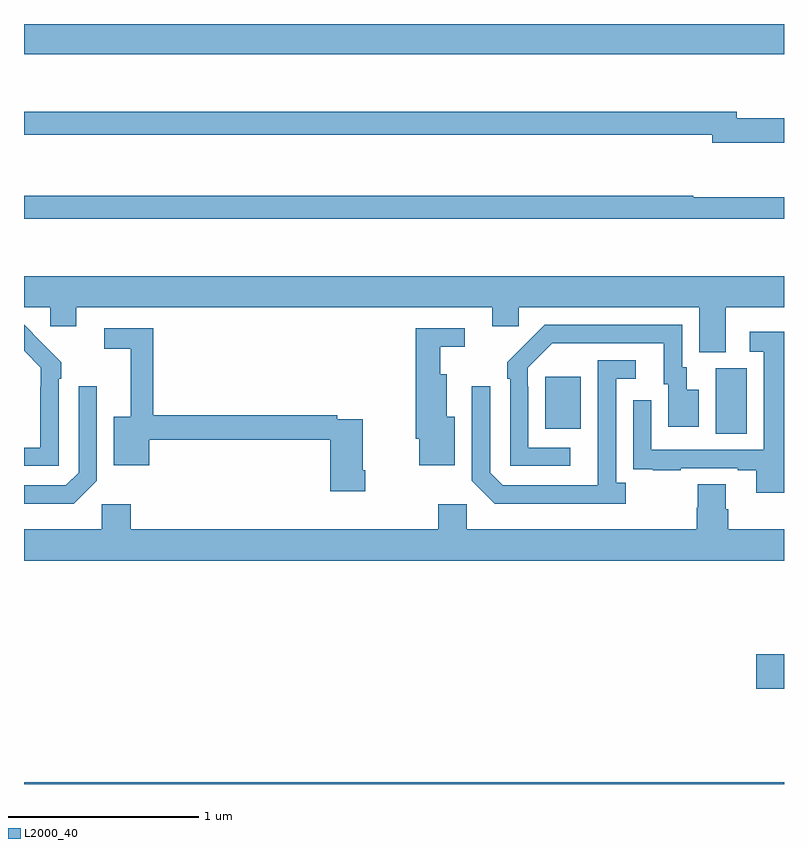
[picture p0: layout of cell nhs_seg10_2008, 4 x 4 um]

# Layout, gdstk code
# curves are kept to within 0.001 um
import gdstk
lib = gdstk.Library(unit=1e-6, precision=1e-09)
def R(c, l, rs):  # rectangles x0, y0, x1, y1
    for r in rs: c.add(gdstk.rectangle(r[:2], r[2:], *l))
def P(c, l, *ps):  # polygons
    for p in ps: c.add(gdstk.Polygon(p, *l))
L2000_40 = (2000, 40)

nhs_seg10_2008 = lib.new_cell('nhs_seg10_2008')
R(nhs_seg10_2008, L2000_40, [(217,1272.5,221,1272.508), (220.854,1273.001,221,1273.184), (220.64,1274.344,220.804,1274.688), (219.743,1274.369,219.931,1274.644), (217,1276.34,221,1276.5)])
P(nhs_seg10_2008, L2000_40, [(221,1276.005),(220.75,1276.005),(220.75,1276.039),(217,1276.039),(217,1275.918),(220.622,1275.918),(220.622,1275.875),(221,1275.875)],
  [(221,1275.587),(220.522,1275.587),(220.522,1275.595),(217,1275.595),(217,1275.474),(221,1275.474)],
  [(220.693,1275.008),(221,1275.008),(221,1275.172),(217,1275.172),(217,1275.008),(217.137,1275.008),(217.137,1274.91),(217.276,1274.91),(217.276,1275.008),(219.464,1275.008),(219.464,1274.91),(219.603,1274.91),(219.603,1275.008),(220.553,1275.008),(220.553,1274.773),(220.693,1274.773)],
  [(219.874,1274.271),(219.654,1274.271),(219.654,1274.591),(219.651,1274.591),(219.651,1274.691),(219.78,1274.82),(220.367,1274.82),(220.367,1274.604),(220.391,1274.604),(220.391,1274.379),(220.552,1274.379),(220.552,1274.575),(220.489,1274.575),(220.489,1274.694),(220.464,1274.694),(220.464,1274.916),(219.74,1274.916),(219.543,1274.721),(219.543,1274.633),(219.558,1274.633),(219.558,1274.175),(219.874,1274.175)],
  [(217.182,1274.633),(217.197,1274.633),(217.197,1274.721),(217,1274.916),(217,1274.781),(217.089,1274.691),(217.089,1274.591),(217.086,1274.591),(217.086,1274.271),(217,1274.271),(217,1274.175),(217.182,1274.175)],
  [(219.268,1274.434),(219.226,1274.434),(219.226,1274.656),(219.19,1274.656),(219.19,1274.801),(219.319,1274.801),(219.319,1274.898),(219.061,1274.898),(219.061,1274.316),(219.08,1274.316),(219.08,1274.177),(219.268,1274.177)],
  [(218.795,1274.152),(218.782,1274.152),(218.782,1274.421),(218.648,1274.421),(218.648,1274.441),(217.679,1274.441),(217.679,1274.898),(217.422,1274.898),(217.422,1274.79),(217.562,1274.79),(217.562,1274.434),(217.472,1274.434),(217.472,1274.177),(217.66,1274.177),(217.66,1274.313),(218.612,1274.313),(218.612,1274.04),(218.795,1274.04)],
  [(221,1274.881),(220.821,1274.881),(220.821,1274.775),(220.893,1274.775),(220.893,1274.259),(220.302,1274.259),(220.302,1274.521),(220.206,1274.521),(220.206,1274.266),(220.207,1274.266),(220.207,1274.157),(220.309,1274.157),(220.309,1274.151),(220.457,1274.151),(220.457,1274.163),(220.757,1274.163),(220.757,1274.151),(220.853,1274.151),(220.853,1274.034),(221,1274.034)],
  [(220.168,1274.086),(220.116,1274.086),(220.116,1274.634),(220.219,1274.634),(220.219,1274.73),(220.02,1274.73),(220.019,1274.073),(219.519,1274.073),(219.453,1274.139),(219.453,1274.593),(219.357,1274.593),(219.357,1274.097),(219.478,1273.976),(220.168,1273.976)],
  [(217.383,1274.097),(217.383,1274.593),(217.287,1274.593),(217.287,1274.139),(217.221,1274.073),(217,1274.073),(217,1273.976),(217.262,1273.976)],
  [(221,1273.84),(220.706,1273.84),(220.706,1273.946),(220.693,1273.946),(220.693,1274.078),(220.546,1274.078),(220.546,1273.953),(220.541,1273.953),(220.541,1273.84),(219.33,1273.84),(219.33,1273.972),(219.179,1273.972),(219.179,1273.84),(217.562,1273.84),(217.562,1273.972),(217.41,1273.972),(217.41,1273.84),(217,1273.84),(217,1273.676),(221,1273.676)])

lib.write_gds('nhs_seg10_2008.gds')
